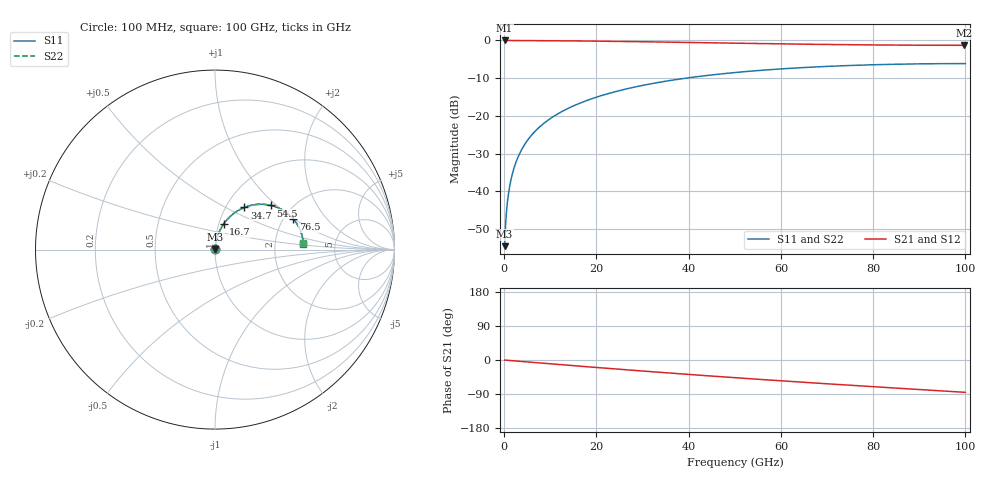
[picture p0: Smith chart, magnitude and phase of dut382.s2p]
! Touchstone file exported from HFSS 2026.1.0
!  File:  C:/ffzhzh/LocalFiles/Ansys_Project_Files/temp_train_RDL_382_1783503729_44152.aedt
!  Generated:  05:43:22 PM Jul  8, 2026
!  Design:  RDL
!  Project:  temp_train_RDL_382_1783503729_44152
! Variables:
!  h_bsmrdl = 2um
!  h_ox = 20um
!  h_rdl = 5um
!  h_sub = 80um
!  h_tmrdl = 2.93um
!  h_tsv = 80um
!  h_via = 3um
!  l_bsmrdl = 300um
!  l_sub = 664.55um
!  l_tmrdl = 264.55um
!  m_sub = 200um
!  pitch = 46.53um
!  r_tsv = 6um
!  s_tmrdl = 10um
!  w_bsmrdl = 18um
!  w_sub = 500um
!  w_tmrdl = 25.07um
!  x_tsv_center1 = 277.085um
!  x_tsv_center2 = 595.085um
!  x_tsv_center3 = 884.705um
!  x_tsv_center4 = 1202.705um
!  x_tsv_center5 = 1492.325um
!  x_tsv_center6 = 1810.325um
# GHz S MA R 50.000000
! Terminal data exported
! Port[1] = TM_RDL1_1_T1
! Port[2] = TM_RDL1_1_T2
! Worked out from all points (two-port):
!   1000 points, 100 MHz to 100 GHz, reference 50 ohm
!   highest |S21| = -0.01 dB at 100 MHz (marker M1); lowest = -1.3 dB at 99.8 GHz (marker M2)
!   |S21| within 3 dB of the highest: start of sweep to end of sweep
!   lowest |S11| = -54.5 dB at 100 MHz (marker M3), VSWR 1.00, Z = 50.2 + j0.107 ohm
!   |S11| at or under -10 dB: start of sweep to 39.43 GHz
!   |S22| runs from -54.5 to -6.1 dB; largest |S21 - S12| = 3.5e-15
!   S11 on the Smith chart (normalised r, x): 100 MHz: 1.00, +0.00; 16.7 GHz: 1.05, +0.31; 34.7 GHz: 1.22, +0.62; 54.5 GHz: 1.57, +0.92; 76.5 GHz: 2.26, +0.98; 100 GHz: 2.92, +0.26
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0.1  0.001881 34.6  0.9985 -0.1  0.9985 -0.1  0.001881 34.6
! Gamma 0 0 0 0
! Port Impedance 50 0 50 0
0.9  0.008943 76.1  0.998 -0.9  0.998 -0.9  0.008943 76.1
1.2  0.01169 78.6  0.9979 -1.2  0.9979 -1.2  0.01169 78.6
1.5  0.01446 80.1  0.9978 -1.5  0.9978 -1.5  0.01446 80.1
2  0.0191 81.4  0.9976 -2.0  0.9976 -2.0  0.0191 81.4
2.6  0.02468 82.1  0.9974 -2.6  0.9974 -2.6  0.02468 82.1
4.1  0.03862 82.1  0.9967 -4.1  0.9967 -4.1  0.03862 82.1
6.2  0.05793 80.8  0.9953 -6.3  0.9953 -6.3  0.05793 80.8
9  0.08322 78.4  0.9928 -9.0  0.9928 -9.0  0.08322 78.4
12.5  0.114 75.2  0.9889 -12.5  0.9889 -12.5  0.114 75.2
16.7  0.1498 71.4  0.9833 -16.6  0.9833 -16.6  0.1498 71.4
16.8  0.1506 71.3  0.9832 -16.6  0.9832 -16.6  0.1506 71.3
24.2  0.2102 64.5  0.9712 -23.7  0.9712 -23.7  0.2102 64.6
33.4  0.2771 56.3  0.9535 -32.2  0.9535 -32.2  0.2771 56.4
34.7  0.2859 55.1  0.9508 -33.4  0.9508 -33.4  0.2859 55.2
50.1  0.3755 42.0  0.9186 -46.7  0.9186 -46.7  0.3755 42.1
54.5  0.3963 38.4  0.9098 -50.4  0.9098 -50.4  0.3962 38.6
66.7  0.4427 28.7  0.8882 -60.2  0.8882 -60.2  0.4426 28.9
76.5  0.4687 21.2  0.8748 -67.8  0.8748 -67.8  0.4686 21.5
83.4  0.4813 16.1  0.8679 -73.0  0.8679 -73.0  0.4812 16.3
99.8  0.4928 4.0  0.8611 -85.2  0.8611 -85.2  0.4927 4.3
100  0.4928 3.9  0.8611 -85.4  0.8611 -85.4  0.4927 4.2
